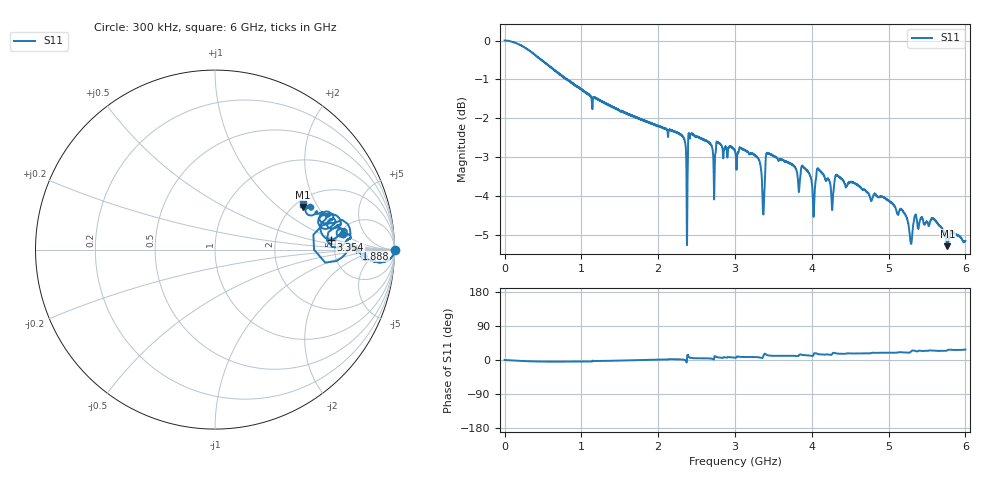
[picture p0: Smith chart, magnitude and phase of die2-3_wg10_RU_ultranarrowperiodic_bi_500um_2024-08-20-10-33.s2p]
!Keysight Technologies,P9374A,MY57304198,A.17.20.09
!Date: Tuesday, August 20, 2024 10:33:22
!Correction: S11(C  1-Port  )
!S21(C  1-Port  )
!S12(Off)
!S22(Off)
!S2P File: Measurements: S11, S21, S12, S22:
# Hz S  dB  R 50
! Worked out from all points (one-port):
!   6000 points, 300 kHz to 6 GHz, reference 50 ohm
!   lowest |S11| = -5.3 dB at 5.767 GHz (marker M1), VSWR 3.39, Z = 111 + j74.9 ohm
!   |S11| at or under -10 dB: nowhere
!   S11 on the Smith chart (normalised r, x): 300 kHz: open; 1.888 GHz: 8.30, +0.25; 3.354 GHz: 4.52, +0.88; 6 GHz: 2.13, +1.57
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300000  0.00 -0.0  -200.00 45.0  -200.00 45.0  -200.00 45.0
4.20349e8  -0.40 -3.9  -200.00 45.0  -200.00 45.0  -200.00 45.0
1.000417e9  -1.24 -3.8  -200.00 45.0  -200.00 45.0  -200.00 45.0
1.88752e9  -2.10 0.4  -200.00 45.0  -200.00 45.0  -200.00 45.0
2.000533e9  -2.19 1.0  -200.00 45.0  -200.00 45.0  -200.00 45.0
2.344574e9  -2.55 0.2  -200.00 45.0  -200.00 45.0  -200.00 45.0
2.406581e9  -2.44 6.2  -200.00 45.0  -200.00 45.0  -200.00 45.0
2.697615e9  -2.71 3.5  -200.00 45.0  -200.00 45.0  -200.00 45.0
2.759622e9  -2.60 8.2  -200.00 45.0  -200.00 45.0  -200.00 45.0
3.00065e9  -2.84 6.4  -200.00 45.0  -200.00 45.0  -200.00 45.0
3.290684e9  -3.01 7.5  -200.00 45.0  -200.00 45.0  -200.00 45.0
3.353691e9  -3.76 5.0  -200.00 45.0  -200.00 45.0  -200.00 45.0
3.404697e9  -2.95 14.5  -200.00 45.0  -200.00 45.0  -200.00 45.0
3.497708e9  -2.97 11.0  -200.00 45.0  -200.00 45.0  -200.00 45.0
4.000767e9  -3.65 11.1  -200.00 45.0  -200.00 45.0  -200.00 45.0
4.058774e9  -3.48 17.5  -200.00 45.0  -200.00 45.0  -200.00 45.0
4.234794e9  -3.65 14.0  -200.00 45.0  -200.00 45.0  -200.00 45.0
4.301802e9  -3.54 18.5  -200.00 45.0  -200.00 45.0  -200.00 45.0
5.000883e9  -4.13 19.2  -200.00 45.0  -200.00 45.0  -200.00 45.0
5.298918e9  -5.19 23.7  -200.00 45.0  -200.00 45.0  -200.00 45.0
5.766973e9  -5.28 25.8  -200.00 45.0  -200.00 45.0  -200.00 45.0
6e9  -5.15 27.5  -200.00 45.0  -200.00 45.0  -200.00 45.0
